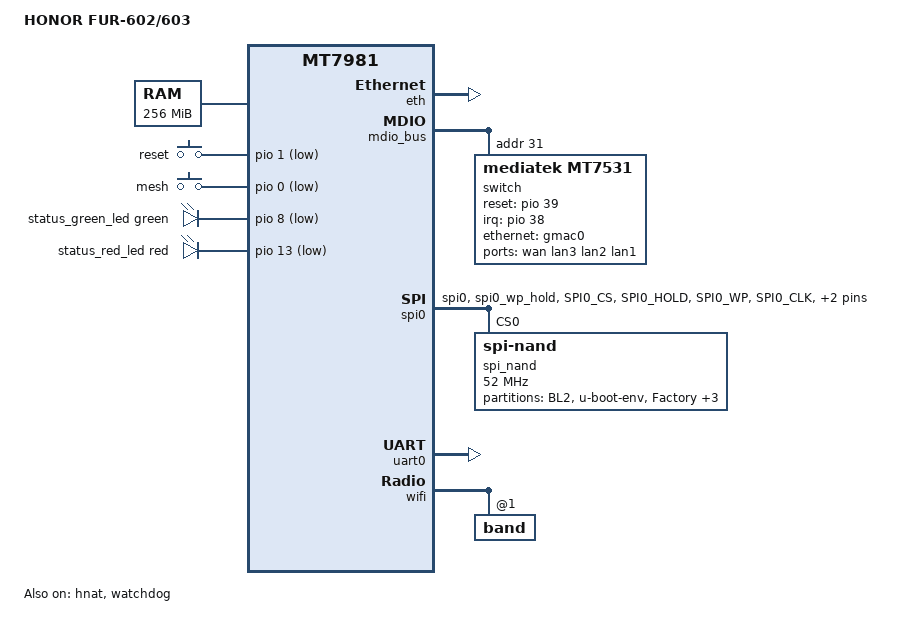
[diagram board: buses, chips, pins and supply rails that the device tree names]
// SPDX-License-Identifier: GPL-2.0-or-later OR MIT
/*
 * HONOR FUR-602 / FUR-603 (XT50 / XU50 / XC50)
 * MediaTek MT7981 (filogic) + MT7531 switch + SPI-NAND
 * Ported from hanwckf immortalwrt-mt798x device tree, adapted for 6.12
 */

/dts-v1/;
#include <dt-bindings/gpio/gpio.h>
#include <dt-bindings/input/input.h>
#include <dt-bindings/leds/common.h>
#include <dt-bindings/pinctrl/mt65xx.h>

#include "mt7981b.dtsi"

/ {
	model = "HONOR FUR-602/603";
	compatible = "honor,fur-602", "mediatek,mt7981";

	aliases {
		led-boot = &status_red_led;
		led-failsafe = &status_red_led;
		led-running = &status_green_led;
		led-upgrade = &status_green_led;
		serial0 = &uart0;
	};

	chosen {
		stdout-path = "serial0:115200n8";
		bootargs = "console=ttyS0,115200n1 loglevel=8 earlycon=uart8250,mmio32,0x11002000";
	};

	memory@40000000 {
		reg = <0 0x40000000 0 0x10000000>;
		device_type = "memory";
	};

	gpio-keys {
		compatible = "gpio-keys";

		button-reset {
			label = "reset";
			linux,code = <KEY_RESTART>;
			gpios = <&pio 1 GPIO_ACTIVE_LOW>;
		};

		button-mesh {
			label = "mesh";
			linux,code = <BTN_9>;
			linux,input-type = <EV_SW>;
			gpios = <&pio 0 GPIO_ACTIVE_LOW>;
		};
	};

	gpio-leds {
		compatible = "gpio-leds";

		status_green_led: led-0 {
			function = LED_FUNCTION_STATUS;
			color = <LED_COLOR_ID_GREEN>;
			gpios = <&pio 8 GPIO_ACTIVE_LOW>;
		};

		status_red_led: led-1 {
			function = LED_FUNCTION_STATUS;
			color = <LED_COLOR_ID_RED>;
			gpios = <&pio 13 GPIO_ACTIVE_LOW>;
		};
	};
};

&eth {
	status = "okay";

	gmac0: mac@0 {
		compatible = "mediatek,eth-mac";
		reg = <0>;
		phy-mode = "2500base-x";

		nvmem-cells = <&macaddr_factory_2a 0>;
		nvmem-cell-names = "mac-address";

		fixed-link {
			speed = <2500>;
			full-duplex;
			pause;
		};
	};
};

&mdio_bus {
	switch: switch@1f {
		compatible = "mediatek,mt7531";
		reg = <31>;
		reset-gpios = <&pio 39 GPIO_ACTIVE_HIGH>;
		interrupt-controller;
		#interrupt-cells = <1>;
		interrupt-parent = <&pio>;
		interrupts = <38 IRQ_TYPE_LEVEL_HIGH>;
	};
};

&pio {
	spi0_flash_pins: spi0-pins {
		mux {
			function = "spi";
			groups = "spi0", "spi0_wp_hold";
		};

		conf-pu {
			pins = "SPI0_CS", "SPI0_HOLD", "SPI0_WP";
			drive-strength = <MTK_DRIVE_8mA>;
			bias-disable; /* bias-disable */
		};

		conf-pd {
			pins = "SPI0_CLK", "SPI0_MOSI", "SPI0_MISO";
			drive-strength = <MTK_DRIVE_8mA>;
			bias-disable; /* bias-disable */
		};
	};
};

&spi0 {
	pinctrl-names = "default";
	pinctrl-0 = <&spi0_flash_pins>;
	status = "okay";

	spi_nand: flash@0 {
		#address-cells = <1>;
		#size-cells = <1>;
		compatible = "spi-nand";
		reg = <0>;

		spi-max-frequency = <52000000>;
		spi-tx-bus-width = <4>;
		spi-rx-bus-width = <4>;

		mediatek,nmbm;
		mediatek,bmt-max-ratio = <1>;
		mediatek,bmt-max-reserved-blocks = <64>;

		partitions: partitions {
			compatible = "fixed-partitions";
			#address-cells = <1>;
			#size-cells = <1>;

			partition@0 {
				label = "BL2";
				reg = <0x0 0x100000>;
				read-only;
			};

			partition@100000 {
				label = "u-boot-env";
				reg = <0x100000 0x80000>;
			};

			factory: partition@180000 {
				label = "Factory";
				reg = <0x180000 0x1e0000>;
				read-only;

				nvmem-layout {
					compatible = "fixed-layout";
					#address-cells = <1>;
					#size-cells = <1>;

					eeprom_factory_0: eeprom@0 {
						reg = <0x0 0x1000>;
					};

					macaddr_factory_a: macaddr@a {
						compatible = "mac-base";
						reg = <0xa 0x6>;
						#nvmem-cell-cells = <1>;
					};

					macaddr_factory_24: macaddr@24 {
						compatible = "mac-base";
						reg = <0x24 0x6>;
						#nvmem-cell-cells = <1>;
					};

					macaddr_factory_2a: macaddr@2a {
						compatible = "mac-base";
						reg = <0x2a 0x6>;
						#nvmem-cell-cells = <1>;
					};
				};
			};

			partition@360000 {
				label = "Trace";
				reg = <0x360000 0x20000>;
				read-only;
			};

			partition@380000 {
				label = "FIP";
				reg = <0x380000 0x200000>;
				read-only;
			};

			partition@580000 {
				label = "ubi";
				reg = <0x580000 0x7200000>;
			};
		};
	};
};

&switch {
	ports {
		#address-cells = <1>;
		#size-cells = <0>;

		port@0 {
			reg = <0>;
			label = "wan";

			nvmem-cells = <&macaddr_factory_24 0>;
			nvmem-cell-names = "mac-address";
		};

		port@1 {
			reg = <1>;
			label = "lan3";
		};

		port@2 {
			reg = <2>;
			label = "lan2";
		};

		port@3 {
			reg = <3>;
			label = "lan1";
		};

		port@6 {
			reg = <6>;
			ethernet = <&gmac0>;
			phy-mode = "2500base-x";

			fixed-link {
				speed = <2500>;
				full-duplex;
				pause;
			};
		};
	};
};

&hnat {
	mtketh-wan = "wan";
	mtketh-lan = "eth0";
	mtketh-max-gmac = <1>;
	status = "okay";
};

&uart0 {
	status = "okay";
};

&watchdog {
	status = "okay";
};

&wifi {
	nvmem-cells = <&eeprom_factory_0>;
	nvmem-cell-names = "eeprom";
	status = "okay";

	band@1 {
		reg = <1>;
		nvmem-cells = <&macaddr_factory_a 0>;
		nvmem-cell-names = "mac-address";
	};
};
